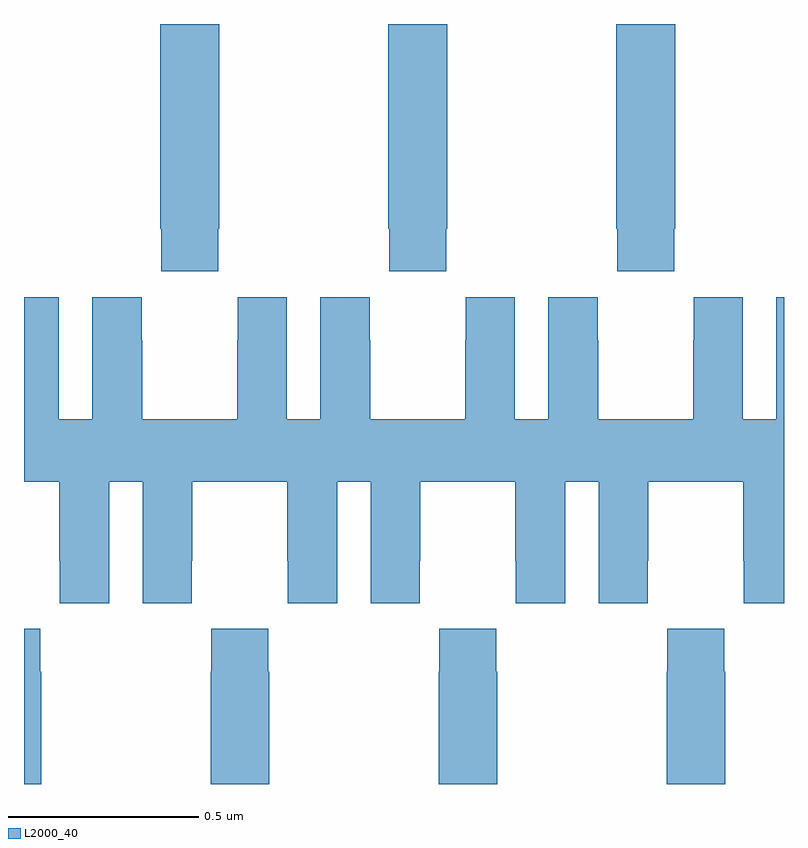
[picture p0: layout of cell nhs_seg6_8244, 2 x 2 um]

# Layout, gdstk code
import gdstk
lib = gdstk.Library(unit=1e-6, precision=1e-09)
def P(c, l, *ps):  # polygons
    for p in ps: c.add(gdstk.Polygon(p, *l))
L2000_40 = (2000, 40)

nhs_seg6_8244 = lib.new_cell('nhs_seg6_8244')
P(nhs_seg6_8244, L2000_40, [(219.711,987.961),(219.714,987.961),(219.714,988.5),(219.559,988.5),(219.559,987.961),(219.561,987.961),(219.561,987.849),(219.711,987.849)],
  [(219.111,987.961),(219.114,987.961),(219.114,988.5),(218.959,988.5),(218.959,987.961),(218.961,987.961),(218.961,987.849),(219.111,987.849)],
  [(218.511,987.961),(218.514,987.961),(218.514,988.5),(218.359,988.5),(218.359,987.961),(218.361,987.961),(218.361,987.849),(218.511,987.849)],
  [(218.224,987.296),(218.312,987.296),(218.312,986.976),(218.442,986.976),(218.442,987.088),(218.443,987.088),(218.443,987.296),(218.693,987.296),(218.693,987.088),(218.694,987.088),(218.694,986.976),(218.824,986.976),(218.824,987.296),(218.912,987.296),(218.912,986.976),(219.042,986.976),(219.042,987.088),(219.043,987.088),(219.043,987.296),(219.293,987.296),(219.293,987.088),(219.294,987.088),(219.294,986.976),(219.424,986.976),(219.424,987.296),(219.512,987.296),(219.512,986.976),(219.642,986.976),(219.642,987.088),(219.643,987.088),(219.643,987.296),(219.893,987.296),(219.893,987.088),(219.894,987.088),(219.894,986.976),(220,986.976),(220,987.781),(219.98,987.781),(219.98,987.46),(219.892,987.46),(219.892,987.781),(219.762,987.781),(219.762,987.668),(219.761,987.668),(219.761,987.46),(219.511,987.46),(219.511,987.668),(219.51,987.668),(219.51,987.781),(219.38,987.781),(219.38,987.46),(219.292,987.46),(219.292,987.781),(219.162,987.781),(219.162,987.668),(219.161,987.668),(219.161,987.46),(218.911,987.46),(218.911,987.668),(218.91,987.668),(218.91,987.781),(218.78,987.781),(218.78,987.46),(218.692,987.46),(218.692,987.781),(218.562,987.781),(218.562,987.668),(218.561,987.668),(218.561,987.46),(218.311,987.46),(218.311,987.668),(218.31,987.668),(218.31,987.781),(218.18,987.781),(218.18,987.46),(218.092,987.46),(218.092,987.781),(218,987.781),(218,987.296),(218.093,987.296),(218.093,987.088),(218.094,987.088),(218.094,986.976),(218.224,986.976)],
  [(219.846,986.795),(219.843,986.795),(219.843,986.908),(219.693,986.908),(219.693,986.795),(219.691,986.795),(219.691,986.5),(219.846,986.5)],
  [(218.046,986.795),(218.043,986.795),(218.043,986.908),(218,986.908),(218,986.5),(218.046,986.5)],
  [(218.646,986.795),(218.643,986.795),(218.643,986.908),(218.493,986.908),(218.493,986.795),(218.491,986.795),(218.491,986.5),(218.646,986.5)],
  [(219.246,986.795),(219.243,986.795),(219.243,986.908),(219.093,986.908),(219.093,986.795),(219.091,986.795),(219.091,986.5),(219.246,986.5)])

lib.write_gds('nhs_seg6_8244.gds')
